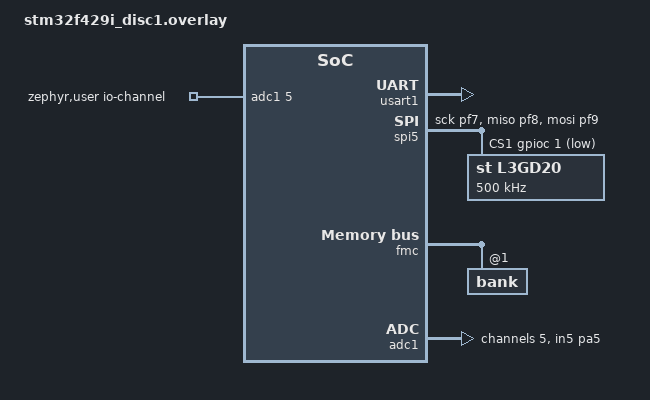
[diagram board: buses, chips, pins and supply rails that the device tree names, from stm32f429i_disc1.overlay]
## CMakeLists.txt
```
# SPDX-License-Identifier: Apache-2.0

# 设定CMake最低版本门槛
cmake_minimum_required(VERSION 3.20.0)

# 告诉 Zephyr 在哪里找自定义的设备树绑定文件
list(APPEND DTC_OVERLAY_FILE "${CMAKE_CURRENT_SOURCE_DIR}/stm32f429i_disc1.overlay")

# 设置自定义设备树绑定文件 (Bindings) 的搜索根目录。
# ${CMAKE_CURRENT_SOURCE_DIR} 指的是当前 CMakeLists.txt 所在的文件夹路径。
# 这行代码告诉 Zephyr 编译器：“除了去内核找硬件定义，也去我当前的项目目录下找找（通常是 dts/bindings 目录）”。
# 这样你写的 custom,sh1106.yaml 才能被系统识别。
set(DTS_ROOT ${CMAKE_CURRENT_SOURCE_DIR})

# 引入 Zephyr 编译框架的核心包。
# REQUIRED 表示这个包是必须的，找不到就直接报错停止。
# HINTS $ENV{ZEPHYR_BASE} 是给编译器一个“线索”，告诉它去环境变量 ZEPHYR_BASE 指向的路径找 Zephyr。
# 执行完这一行后，Zephyr 的所有编译规则、库文件、驱动框架都会被加载进你的项目中。
find_package(Zephyr REQUIRED HINTS $ENV{ZEPHYR_BASE})

# 定义当前项目的名称。
# 这里将项目命名为 "application"。这个名字会影响最终生成的二进制文件名（如 application.elf）。
# 它必须放在 find_package(Zephyr ...) 之后，因为 Zephyr 需要先初始化环境才能支持后续的项目定义。
project(application)

# 添加应用程序私有的头文件目录
# PRIVATE 表示这个 include 路径只对当前 app target 有效
target_include_directories(app PRIVATE
    include
    drivers/include
)

# 添加所有源文件到应用程序目标
target_sources(app PRIVATE
    src/led_thread.c
    src/display_thread.c
    src/gyro_thread.c
    src/dietemp_thread.c
    # src/self_test_thread.c
    drivers/l3gd20.c
    drivers/l3gd20_spi.c
)

# (可选) 链接所需的 Zephyr 库
# 正确的链接方式：只需要链接到 'zephyr' 目标
target_link_libraries(app PRIVATE
    zephyr
)
```

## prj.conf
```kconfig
# 开启启动横幅（Zephyr 版本信息）
CONFIG_BOOT_BANNER=y

#
# Kernel & System (内核与系统基础)
#
# 定义系统时钟滴答的频率
CONFIG_SYS_CLOCK_TICKS_PER_SEC=1000
# 启用 Newlib C 库
CONFIG_NEWLIB_LIBC=y
# 开启 Zephyr 的输入子系统
CONFIG_INPUT=y
# 开启硬件浮点单元支持
CONFIG_FPU=y
# 开启 FPU 寄存器共享 (非常重要！)
# 因为你在线程中使用浮点运算，如果不开启共享，
# 当系统从陀螺仪线程切换到其他线程时，浮点寄存器的值可能会乱套。
CONFIG_FPU_SHARING=y

# 启用Sensor子系统（如果需要连接陀螺仪等传感器）
CONFIG_SENSOR=y

#
# 控制台
#
# --- 基础控制台支持 ---
CONFIG_CONSOLE=y
# 启用控制台输入处理,既然用了 Shell，就不需要原始的控制台处理器了
CONFIG_CONSOLE_HANDLER=n
# 控制台最大输入行长度
CONFIG_CONSOLE_INPUT_MAX_LINE_LEN=128
# 启用标准输出重定向到控制台，允许 printf 等通过控制台(此时是 Shell)输出
# CONFIG_STDOUT_CONSOLE=y
# 指定 UART 作为控制台设备,不要让 Console 直接写 UART，而是交给 Shell 统一管
CONFIG_UART_CONSOLE=n

#
# Subsystems: Shell and Console (外壳与控制台)
#
# 启用 Shell 子系统
CONFIG_SHELL=y
# 启用 Shell 后端支持
CONFIG_SHELL_BACKENDS=y
# 使用串口作为 Shell 的 I/O 接口
CONFIG_SHELL_BACKEND_SERIAL=y
# 这一行是关键！它会让 Shell 注册为系统的一个 Console 驱动
CONFIG_SHELL_BACKEND_SERIAL_INTERRUPT_DRIVEN=y
# 解决争抢：让 Shell 接管日志后端输出
CONFIG_SHELL_LOG_BACKEND=y
# 启用 UART 运行时配置更改
CONFIG_UART_USE_RUNTIME_CONFIGURE=y
# 增加 Shell 线程栈大小以确保稳定运行
CONFIG_SHELL_STACK_SIZE=2048
# 开启内核对象查询（必须）
CONFIG_THREAD_MONITOR=y
# 开启线程名显示（方便识别是哪个任务）
CONFIG_THREAD_NAME=y
# 开启栈分析功能（查看具体使用了百分之几）
CONFIG_THREAD_STACK_INFO=y
CONFIG_THREAD_ANALYZER=y

#
# Logging System (日志系统)
#
# 启用核心日志功能
CONFIG_LOG=y
# 强制日志立即同步输出，不要缓存
CONFIG_LOG_MODE_IMMEDIATE=y
# 启用延迟模式（使用队列，提高实时性能）
# CONFIG_LOG_MODE_DEFERRED=y
# 使用 UART 作为日志输出后端;禁用原生的日志 UART 后端（避免重复）
CONFIG_LOG_BACKEND_UART=n
# 默认日志级别设置为 Info (3)
CONFIG_LOG_DEFAULT_LEVEL=3
# 编译时包含的最大日志级别设置为 Debug (4)
CONFIG_LOG_MAX_LEVEL=4
# 增加打印延迟，防止刷屏导致系统假死,只有在“延迟模式”下才有效
# CONFIG_LOG_BUFFER_SIZE=2048

#
# Core Drivers: Serial/UART (核心驱动：串行/UART)
#
# 启用串行子系统
CONFIG_SERIAL=y
# 启用中断驱动模式 (高效)
CONFIG_UART_INTERRUPT_DRIVEN=y

# 启用浮点支持，以便在日志中打印浮点数
CONFIG_CBPRINTF_FP_SUPPORT=y

# 启用 DMA 核心支持
# CONFIG_DMA=y

# 启用 PWM
# CONFIG_PWM=y
# CONFIG_PWM_STM32=y

#
# Core Drivers: GPIO (通用输入/输出)
#
# 启用 GPIO 核心支持
CONFIG_GPIO=y
# 启用 STM32 硬件 GPIO 驱动
CONFIG_GPIO_STM32=y

#
# Core Drivers: I2C
#
# 启用 I2C 核心支持
CONFIG_I2C=y
# 开启软件模拟 I2C 驱动
# CONFIG_I2C_GPIO=y
# 启用 STM32 硬件 I2C 驱动
CONFIG_I2C_STM32=y
# 启用中断驱动模式
CONFIG_I2C_STM32_INTERRUPT=y

#
# Core Drivers: QSPI/Flash (W25Q128)
#
# 启用 Flash API 核心支持
# CONFIG_FLASH=y
# 启用使用 STM32 HAL 库实现的 QSPI 驱动
# CONFIG_FLASH_STM32_QSPI=y

#
# Core Drivers: Standard SPI
#
# 启用标准 SPI 核心支持 (如果需要连接 SPI 传感器/屏幕)
CONFIG_SPI=y
CONFIG_SPI_STM32=y
# 暂时关闭 SPI DMA 传输，强制使用轮询/中断模式
# CONFIG_SPI_STM32_DMA=n
# 启用 SPI DMA 传输
# CONFIG_SPI_STM32_DMA=y
# 建议开启日志以便调试
# CONFIG_SPI_LOG_LEVEL_DBG=y

#
# Core Drivers: RTC (实时时钟)
#
# 启用 RTC 核心支持
CONFIG_RTC=y
# 启用 STM32 硬件 RTC 驱动
CONFIG_RTC_STM32=y
# 启用 RTC 闹钟功能
CONFIG_RTC_ALARM=y

#
# Core Drivers: LED (发光二极管)
#
# 启用 LED 核心驱动框架
CONFIG_LED=y
# 启用 GPIO LED 驱动 (用于开关控制)
CONFIG_LED_GPIO=y
# 启用 PWM LED 驱动 (用于亮度调节)
# CONFIG_LED_PWM=y

#
# Core Drivers: ADC (模数转换器)
#
# 启用 ADC 核心支持
CONFIG_ADC=y
# 启用 STM32 硬件 ADC 驱动
CONFIG_ADC_STM32=y

#
# Core Drivers: Pin Controller and HW Info (引脚控制器与硬件信息)
#
# 启用引脚控制器核心支持
CONFIG_PINCTRL=y
# 启用 STM32 引脚控制器驱动
CONFIG_PINCTRL_STM32=y
# 启用硬件信息核心支持
CONFIG_HWINFO=y
# 启用 STM32 硬件信息驱动 (读取芯片ID等)
CONFIG_HWINFO_STM32=y

#
# Display Driver (显示驱动 - LCD)
#
# 启用显示子系统
CONFIG_DISPLAY=y

# ================================================================
# LVGL配置
# ================================================================

# ================================================================
# LVGL 核心启用与内存池
# ================================================================
CONFIG_LVGL=y

# LVGL初始化会复用main stack，因此需要增加 main stack size
CONFIG_MAIN_STACK_SIZE=4096

# LVGL 自身组件分配的内存池大小（用于对象、样式等）
# 建议设置在 16KB - 64KB，取决于 UI 复杂度
CONFIG_LV_Z_MEM_POOL_SIZE=32768

# ================================================================
# LVGL 显存 (VDB) 关键配置 (实现双缓冲与地址重定向)
# ================================================================

# 渲染缓冲区大小：100 代表 100%，即全屏缓冲区
# 对于 F429 + SDRAM，建议设为 100 以获得最佳抗撕裂效果
CONFIG_LV_Z_VDB_SIZE=100

# 启用双显示缓冲区 (Double Buffering)
# 开启后 LVGL 会创建两个缓冲区，彻底解决你看到的“横向闪烁线”
CONFIG_LV_Z_DOUBLE_VDB=y

# 开启全屏刷新
CONFIG_LV_Z_FULL_REFRESH=y

# 显存位置重定向 (使用 Memory Region 模式)
# 开启内存域放置功能，允许我们指定显存放在特定的内存区域（如 SDRAM）
CONFIG_LV_Z_VDB_ZEPHYR_REGION=y
# 指定设备树中的 SDRAM2 区域
CONFIG_LV_Z_VDB_ZEPHYR_REGION_NAME="SDRAM2"

# 性能加速
# 启用 STM32 DMA2D 硬件加速
CONFIG_LV_USE_DRAW_DMA2D=y

# 2. 【核心修复】显式指定 HAL 库头文件为 F4 系列
# 注意：这行解决了报错 stm32h7xx_hal.h 找不到的问题
CONFIG_LV_DRAW_DMA2D_HAL_INCLUDE="stm32f4xx_hal.h"

# ================================================================
# 其他建议（可选）
# ================================================================
# 如果你需要使用中文字库或复杂的图形，可以增加 LVGL 的内存
CONFIG_LV_FONT_MONTSERRAT_14=y
CONFIG_LV_FONT_MONTSERRAT_18=y
CONFIG_LV_FONT_MONTSERRAT_24=y
CONFIG_LV_FONT_MONTSERRAT_32=y
# 开启用户log输出，方便调试LVGL内部状态
# CONFIG_LV_USE_LOG=y
# 开启LVGL Demo
# CONFIG_LV_BUILD_DEMOS=y
# 开启基础控件 Demo
# CONFIG_LV_USE_DEMO_WIDGETS=y
# 开启基准测试 Demo
# CONFIG_LV_USE_DEMO_BENCHMARK=y
# 智能手表 Demo
# CONFIG_LV_USE_DEMO_SMARTWATCH=y
```

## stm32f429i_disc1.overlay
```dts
/* stm32f429i_disc1.overlay */

/ {
	// chosen {
	// 	zephyr,console = &usart1;
	// 	zephyr,shell-uart = &usart1;
	// 	zephyr,sram = &sram0;
	// 	zephyr,flash = &flash0;
	// 	zephyr,ccm = &ccm0;
	// 	zephyr,display = &ltdc;
	// 	zephyr,touch = &stmpe811;
	// };

    /* 官方示例通过 zephyr,user 节点统一管理代码引用的通道 */
    zephyr,user {
        /* PA5 ，它对应 ADC1 的 通道 5 */
        io-channels = <&adc1 5>;
    };

	// aliases {
	// 	led0 = &green_led_3;
	// 	sw0 = &user_button;
	// }; 

	// leds {
	// 	compatible = "gpio-leds";
    //     // <&gpioe 7 GPIO_ACTIVE_HIGH> 这一行可能需要调整
    //     // 但是对于 led 节点，这是一个标志，表示该引脚是低电平有效的。
        
    //     // 根据您的电路，低电平点亮，所以它是 GPIO_ACTIVE_LOW
    //     // 这将影响驱动程序对 "开/关" 的解释。

    //     // 修正引脚极性 (这是最标准的做法)
	// 	blue_led: led_2 {
	// 		gpios = <&gpioe 9 GPIO_ACTIVE_LOW>;
	// 	};
	// };

	// gpio_keys {
	// 	compatible = "gpio-keys";

	// 	user_button: button {
	// 		label = "User";
	// 		gpios = <&gpioa 0 GPIO_ACTIVE_LOW>;
	// 		zephyr,code = <INPUT_KEY_0>;
	// 	};
	// };

	/* 定义 PWM LED 节点 */
	// pwmleds: pwmleds {
	// 	compatible = "pwm-leds";
	// 	status = "okay";

	// 	pwm_led: pwm_led {		
	// 		/*
	// 		* <&pwm4   : 使用 TIM3 定时器
	// 		* 4       : 使用第 2 通道 (对应 PC7)
	// 		* PWM_MSEC(20) : PWM 周期 20ms (50Hz)，适合 LED 调光
	// 		* 100000 : 10KHz 对应周期 100,000 ns, 适用于无极级调光背光
	// 		* PWM_POLARITY_NORMAL : 正常极性 (高电平有效/点亮)
	// 		*/
	// 		pwms = <&pwm3 2 100000 PWM_POLARITY_INVERTED>;
	// 	};
	// };

	/* 模拟 I2C 控制器必须放在根节点下 */
    /* 这里的名字可以叫 gpio-i2c_0，但 compatible 必须固定 */
    // gpio_i2c0: gpio_i2c0 {
    //     compatible = "gpio-i2c";
    //     status = "okay";  /* 激活该节点 */

    //     /* SDA 对应 PC1, SCL 对应 PC0 */
    //     /* 这里的 (GPIO_ACTIVE_HIGH | GPIO_OPEN_DRAIN) 是标准要求 */
    //     sda-gpios = <&gpioc 1 (GPIO_ACTIVE_HIGH | GPIO_OPEN_DRAIN)>;
    //     scl-gpios = <&gpioc 0 (GPIO_ACTIVE_HIGH | GPIO_OPEN_DRAIN)>;
        
    //     clock-frequency = <I2C_BITRATE_STANDARD>;
    //     #address-cells = <1>;
    //     #size-cells = <0>;

	// 	/* 加速度传感器作为子节点挂载 */
	// 	icm20608: icm20608@68 {
	// 		compatible = "invensense,icm20608";
	// 		reg = <0x68>;
	// 		status = "okay";
	// 		/* PD0 默认检测高电平,GPTO_EXTI0 */
	// 		int-gpios = <&gpiod 0 GPIO_ACTIVE_HIGH>;
    // 	};
    // };
};

/* 如果你也用到了 dma1，同样需要修正 */
// &dma1 {
//     compatible = "st,stm32-dma-v2";
//     #dma-cells = <3>;
//     status = "okay";
// };

/* 强制纠正 DMA 控制器的属性，解决 #dma-cells 不匹配问题 */
&dma2 {
    compatible = "st,stm32-dma-v2"; /* 必须指定为 v2 */
    #dma-cells = <3>;               /* 必须强制设为 3 */
    status = "okay";
};

/* 配置串口 */
&usart1 {
    /* 现在这里的 3 个数字就能和上面的 #dma-cells = <3> 匹配上了 */
    dmas = <&dma2 7 4 (STM32_DMA_PERIPH_TX | STM32_DMA_PRIORITY_HIGH)>,
           <&dma2 2 4 (STM32_DMA_PERIPH_RX | STM32_DMA_PRIORITY_HIGH)>;
    dma-names = "tx", "rx";
    status = "okay";
};

/* 修正 SPI5 的引脚分配，移除不需要的 PF6 */
&spi5 {
    pinctrl-0 = <&spi5_sck_pf7 &spi5_miso_pf8 &spi5_mosi_pf9>;
    pinctrl-names = "default";
    status = "okay";
    /* 这里定义两个片选，第一个给屏幕(Index 0)，第二个给MEMS(Index 1) */
    cs-gpios = <&gpioc 2 GPIO_ACTIVE_LOW>, <&gpioc 1 GPIO_ACTIVE_LOW>;

    l3gd20: l3gd20@1 {
        /* 如果 st,l3gd20 报错，这里换成 "st,i3g4250d" */
        compatible = "st,l3gd20"; 
        reg = <1>;
        spi-max-frequency = <500000>;
        status = "okay";
    };
};

// Zephyr 官方的 ILI9341 驱动绑定文件（Binding）中没有定义 te-gpios 这个属性
// &ili9341 {
// 	te-gpios = <&gpiod 11 GPIO_ACTIVE_HIGH>;
// };

&fmc {
	status = "okay";
    sdram {
        status = "okay";
        power-up-delay = <100>;
        num-auto-refresh = <8>;      /* 初始化标准流程：8次自动刷新 */
        mode-register = <0x0231>;    /* 设置 Burst=2, CAS=3 (对应下面的CAS_3) */
        refresh-rate = <1386>;       /* 基于 84MHz 计算出的 64ms/4096行刷新率 */

        bank@1 {
            reg = <1>;               /* 物理连接：SDRAM 片选挂在 Bank 2 (SDNE1) */

            st,sdram-control = <STM32_FMC_SDRAM_NC_8
                                STM32_FMC_SDRAM_NR_12
                                STM32_FMC_SDRAM_MWID_16
                                STM32_FMC_SDRAM_NB_4
                                STM32_FMC_SDRAM_CAS_3
                                STM32_FMC_SDRAM_SDCLK_PERIOD_2
                                STM32_FMC_SDRAM_RBURST_DISABLE
                                STM32_FMC_SDRAM_RPIPE_1>;

            /* 对应 CubeMX 参数转换 (单位为 SDCLK 周期) */
            /* [TMRD, TXSR, TRAS, TRC, TWR, TRP, TRCD] */
            /* TRAS 说明：CubeMX 的 8 HCLK 换算为 4 SDCLK，寄存器填 4-1=3 或更稳的 4 */
            st,sdram-timing = <2 7 4 7 2 2 2>;
        };
    };
};

// 不修改这个也能正常使用
// &ili9341 {
// 	disctrl = [0A A7 27 04];
// };

&stmpe811 {
    /* 使用这个关键字来删除官方文件里定义的属性 */
    /delete-property/ inverted-y;

    /* 优化触摸参数 */
    tracking-index = <16>;           /* 降低数值，让小幅移动更灵敏 */
};

// /* 1. 激活芯片内置的温度传感器支持 */
// &die_temp {
//     status = "okay";
// };

// /* 2. 激活内部参考电压（为了让电压转换更准） */
// &vref {
//     status = "okay";
// };

&adc1 {
    status = "okay";
    st,adc-prescaler = <4>;
    
    /* 定义通道 5 (PA5) */
    #address-cells = <1>;
    #size-cells = <0>;

    pinctrl-0 = <&adc1_in5_pa5>;
    pinctrl-names = "default";
    
    channel@5 {
        reg = <5>;
        zephyr,gain = "ADC_GAIN_1";
        zephyr,reference = "ADC_REF_INTERNAL"; // 使用 3.3V 作为基准
        zephyr,acquisition-time = <ADC_ACQ_TIME_DEFAULT>;
        zephyr,resolution = <12>;
    };
};
```

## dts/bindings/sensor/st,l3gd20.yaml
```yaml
# STMicroelectronics L3GD20 3-axis gyrometer
description: |
    STMicroelectronics L3GD20 3-axis gyrometer accessed through SPI bus

compatible: "st,l3gd20" 

include: [sensor-device.yaml, spi-device.yaml]
```

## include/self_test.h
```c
#ifndef SELF_TEST_H
#define SELF_TEST_H

/**
 * @brief 测试线程入口函数
 */
void self_test_thread_entry(void *p1, void *p2, void *p3);

#endif /* SELF_TEST_H */
```

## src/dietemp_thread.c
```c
/**
 * @file dietemp_thread.c
 */

#include <zephyr/kernel.h>
#include <zephyr/device.h>
#include <zephyr/devicetree.h>
#include <zephyr/drivers/adc.h>
#include <zephyr/logging/log.h>
#include <stm32_ll_adc.h> // 必须引入底层库

LOG_MODULE_REGISTER(DIE_TEMP_TASK, LOG_LEVEL_INF);

/* 检查设备树配置 */
#if !DT_NODE_EXISTS(DT_PATH(zephyr_user)) || \
    !DT_NODE_HAS_PROP(DT_PATH(zephyr_user), io_channels)
#error "请在 .overlay 中配置 zephyr,user 节点并添加 io-channels = <&adc1 18>;"
#endif

static const struct adc_dt_spec adc_chan0 = 
    ADC_DT_SPEC_GET_BY_IDX(DT_PATH(zephyr_user), 0);

/* 读取芯片内部温度失败，改尝试读取外部 ADC 通道 PA5 */
void dietemp_thread_entry(void *p1, void *p2, void *p3)
{
    int err;
    uint16_t buf;
    struct adc_sequence sequence = {
        .buffer = &buf,
        .buffer_size = sizeof(buf),
    };

    /* 1. 检查设备是否就绪 */
    if (!adc_is_ready_dt(&adc_chan0)) {
        LOG_ERR("ADC device not ready");
        return;
    }

    /* 2. 初始化通道 */
    err = adc_channel_setup_dt(&adc_chan0);
    if (err < 0) {
        LOG_ERR("Setup failed (err %d)", err);
        return;
    }

    LOG_INF("外部 ADC (PA5) 初始化成功！");

    while (1) {
        /* 3. 配置采样序列 */
        adc_sequence_init_dt(&adc_chan0, &sequence);

        /* 4. 读取原始值 */
        err = adc_read(adc_chan0.dev, &sequence);
        if (err == 0) {
            float voltage = (float)buf * 3.3f / 4095.0f;
            LOG_INF("PA5 Raw: %d, 电压: %.2f V", buf, (double)voltage);
        } else {
            LOG_WRN("读取失败 (err %d)", err);
        }

        k_msleep(1000);
    }
}

// 线程栈和定义
#define DIE_TEMP_STACK_SIZE 1024
#define DIE_TEMP_PRIORITY 13

/* 定义并启动线程，优先级设为 7 */
K_THREAD_DEFINE(dietemp_tid, DIE_TEMP_STACK_SIZE, 
                dietemp_thread_entry, NULL, NULL, NULL, 
                DIE_TEMP_PRIORITY, 0, 0);
```

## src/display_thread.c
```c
#include <zephyr/kernel.h>
#include <zephyr/device.h>
#include <zephyr/drivers/display.h>
#include <zephyr/input/input.h>
#include <lvgl.h>
#include <stdio.h>
#include <stdint.h>
#include <string.h>

#include "display_thread.h"

#include <zephyr/logging/log.h>
LOG_MODULE_REGISTER(Display_TASK, LOG_LEVEL_INF);

/* --- 硬件常量定义 --- */
#define SCREEN_WIDTH  240
#define SCREEN_HEIGHT 320
// STM32F429I-DISC1 默认显存起始地址 (需确保与设备树配置一致)
#define SDRAM_FB_ADDR 0xD0000000 

static const struct device *display_dev = DEVICE_DT_GET(DT_CHOSEN(zephyr_display));

static lv_chart_series_t * ser1 = NULL;
static lv_obj_t * main_chart = NULL;
static lv_obj_t * main_bar = NULL;

/**
 * @brief 按钮事件：处理清空逻辑
 */
static void btn_reset_cb(lv_event_t * e) {
    lv_event_code_t code = lv_event_get_code(e);
    if(code == LV_EVENT_PRESSED) {
        LOG_INF("UI: Reset Triggered");
        if (main_chart && ser1) {
            lv_chart_set_all_value(main_chart, ser1, 0);
            lv_chart_refresh(main_chart);
        }
    }
}

/**
 * @brief 数据更新定时器
 */
static void ui_timer_cb(lv_timer_t * timer) {
    static int val = 0;
    val = (val + 1) % 101;
    lv_bar_set_value(main_bar, val, LV_ANIM_ON);

    uint32_t rnd = (k_cycle_get_32() % 60) + 20;
    lv_chart_set_next_value(main_chart, ser1, rnd);
}

/**
 * @brief 构建最终演示界面
 */
void create_demo_ui(void) {
    lv_obj_t * screen = lv_scr_act();
    lv_obj_clear_flag(screen, LV_OBJ_FLAG_SCROLLABLE);
    lv_obj_set_style_bg_color(screen, lv_palette_darken(LV_PALETTE_GREY, 4), 0);

    /* 标题 */
    lv_obj_t * title = lv_label_create(screen);
    lv_label_set_text(title, "SYSTEM MONITOR v1.0");
    lv_obj_set_style_text_color(title, lv_palette_main(LV_PALETTE_LIME), 0);
    lv_obj_align(title, LV_ALIGN_TOP_MID, 0, 10);

    /* 进度条 */
    main_bar = lv_bar_create(screen);
    lv_obj_set_size(main_bar, 200, 12);
    lv_obj_align(main_bar, LV_ALIGN_TOP_MID, 0, 40);

    /* 折线图 */
    main_chart = lv_chart_create(screen);
    lv_obj_set_size(main_chart, 220, 140);
    lv_obj_align(main_chart, LV_ALIGN_CENTER, 0, 20);
    lv_chart_set_type(main_chart, LV_CHART_TYPE_LINE);
    lv_obj_set_style_bg_color(main_chart, lv_color_black(), 0);
    ser1 = lv_chart_add_series(main_chart, lv_palette_main(LV_PALETTE_YELLOW), LV_CHART_AXIS_PRIMARY_Y);

    /* RESET 按钮 */
    lv_obj_t * btn = lv_btn_create(screen);
    lv_obj_set_size(btn, 120, 45);
    lv_obj_align(btn, LV_ALIGN_BOTTOM_MID, 0, -10);
    lv_obj_clear_flag(btn, LV_OBJ_FLAG_SCROLLABLE);
    
    // 设置按下反馈
    lv_obj_set_style_bg_color(btn, lv_palette_main(LV_PALETTE_RED), LV_STATE_PRESSED);

    lv_obj_t * btn_label = lv_label_create(btn);
    lv_label_set_text(btn_label, "RESET DATA");
    lv_obj_center(btn_label);

    lv_obj_add_event_cb(btn, btn_reset_cb, LV_EVENT_ALL, NULL);

    lv_timer_create(ui_timer_cb, 100, NULL);
}

/**
 * @brief 显示线程入口
 */
void display_thread_entry(void) 
{
    // 稍微多等一会儿，确保外设上电稳定
    k_msleep(800); 

    LOG_INF("Display Thread Init...");

    if (!device_is_ready(display_dev)) {
        LOG_ERR("Display device not found!");
        return;
    }

    /* --- 步骤 A: 物理显存清零 --- */
    // 用深灰色彻底覆盖 SDRAM 中的随机数据
    uint16_t *fb = (uint16_t *)SDRAM_FB_ADDR;
    for(int i = 0; i < (SCREEN_WIDTH * SCREEN_HEIGHT); i++) {
        fb[i] = 0x2104; // 深灰色 RGB565
    }
    LOG_INF("SDRAM Framebuffer cleaned.");

    // 关闭消隐，开启背光显示
    display_blanking_off(display_dev);

    /* --- 步骤 B: 创建 UI --- */
    create_demo_ui();

    /* --- 步骤 C: 任务主循环 --- */
    while (1) {
        // lv_task_handler 会在此处处理 DMA2D 搬运及输入队列读取
        uint32_t next_run = lv_task_handler();
        
        // 动态睡眠：保持 5ms-30ms 之间，给 Input 系统留出处理带宽
        if (next_run < 5) next_run = 5;
        if (next_run > 30) next_run = 30;
        
        k_msleep(next_run);
    }
}

/* 线程定义 (降低优先级以确保 Input 子系统响应) */
#define DISPLAY_STACK_SIZE 8192
#define DISPLAY_PRIORITY 12 // 优先级调低一点

K_THREAD_DEFINE(display_thread_tid, DISPLAY_STACK_SIZE, 
                display_thread_entry, NULL, NULL, NULL,
                DISPLAY_PRIORITY, 0, 0);
```

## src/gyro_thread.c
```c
#include <zephyr/kernel.h>
#include <zephyr/device.h>
#include <zephyr/drivers/sensor.h>
#include <zephyr/logging/log.h>
#include <math.h>

LOG_MODULE_REGISTER(GYRO_TASK, LOG_LEVEL_INF);

/* --- 配置常量 --- */
#define RAD_TO_DPS 57.2957795f
#define FILTER_ALPHA 0.5f  // 滤波系数 (0.0~1.0)，越小越平滑，但响应变慢

/* 静态变量，用于存储平滑后的值 */
static float smooth_gx, smooth_gy, smooth_gz;

/**
 * @brief 自定义转换函数：解决 Zephyr 负数转换时的符号丢失问题
 */
static float sensor_to_float(struct sensor_value *v)
{
    /* 显式处理：整数部分 + (微量部分 / 100万) */
    /* 注意：如果 v->val1 是 0 且数值为负，符号会由驱动层处理或在此手动判定 */
    return (float)v->val1 + (float)v->val2 / 1000000.0f;
}

void gyro_thread_entry(void *p1, void *p2, void *p3)
{
    const struct device *const dev = DEVICE_DT_GET(DT_NODELABEL(l3gd20));
    struct sensor_value gyro[3];
    
    float offset_x = 0.0f, offset_y = 0.0f, offset_z = 0.0f;
    int calib_samples = 100;

    if (!device_is_ready(dev)) {
        LOG_ERR("L3GD20 未就绪");
        return;
    }

    /* --- 1. 自动校准阶段 --- */
    LOG_INF("正在校准，请保持设备静止...");
    for (int i = 0; i < calib_samples; i++) {
        if (sensor_sample_fetch(dev) == 0) {
            sensor_channel_get(dev, SENSOR_CHAN_GYRO_XYZ, gyro);
            offset_x += sensor_to_float(&gyro[0]);
            offset_y += sensor_to_float(&gyro[1]);
            offset_z += sensor_to_float(&gyro[2]);
        }
        k_msleep(10);
    }
    offset_x /= calib_samples;
    offset_y /= calib_samples;
    offset_z /= calib_samples;
    LOG_INF("校准完成！偏移量 -> X:%.3f, Y:%.3f, Z:%.3f", (double)offset_x, (double)offset_y, (double)offset_z);

    /* --- 2. 主循环 --- */
    while (1) {
        if (sensor_sample_fetch(dev) == 0) {
            sensor_channel_get(dev, SENSOR_CHAN_GYRO_XYZ, gyro);

            /* A. 获取去偏后的原始值 (单位: rad/s) */
            float cur_gx = sensor_to_float(&gyro[0]) - offset_x;
            float cur_gy = sensor_to_float(&gyro[1]) - offset_y;
            float cur_gz = sensor_to_float(&gyro[2]) - offset_z;

            /* B. 一阶低通滤波 (消除抖动) */
            smooth_gx = (cur_gx * FILTER_ALPHA) + (smooth_gx * (1.0f - FILTER_ALPHA));
            smooth_gy = (cur_gy * FILTER_ALPHA) + (smooth_gy * (1.0f - FILTER_ALPHA));
            smooth_gz = (cur_gz * FILTER_ALPHA) + (smooth_gz * (1.0f - FILTER_ALPHA));

            /* C. 转换并打印 (单位: dps) */
            LOG_DBG("Gyro [dps] -> X: %6.2f | Y: %6.2f | Z: %6.2f", 
                    (double)(smooth_gx * RAD_TO_DPS), 
                    (double)(smooth_gy * RAD_TO_DPS), 
                    (double)(smooth_gz * RAD_TO_DPS));
        }
        k_msleep(100); // 10Hz 刷新率
    }
}

// 线程栈和定义
#define GYRO_STACK_SIZE 2048
#define GYRO_PRIORITY 7

/* 使用宏定义并自动启动线程 */
/* 参数：线程名, 堆栈大小, 入口函数, 参数1, 参数2, 参数3, 优先级, 选项, 延迟启动时间 */
K_THREAD_DEFINE(gyro_tid, GYRO_STACK_SIZE,
                gyro_thread_entry, NULL, NULL, NULL,
                GYRO_PRIORITY, 0, 0);
```

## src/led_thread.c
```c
#include <zephyr/kernel.h>
#include <zephyr/drivers/gpio.h>
#include <zephyr/logging/log.h>
#include "led_thread.h"

// 启用日志记录
LOG_MODULE_REGISTER(LED_TASK, LOG_LEVEL_INF);

/* GPIO_DT_SPEC_GET(node_id, property)： 这是Zephyr提供的另一个宏，
* 用于从指定的设备节点ID (LED1_NODE) 中提取名为 property 的属性值，
* 并将其封装成 struct gpio_dt_spec。
* 这里的 gpios 是一个标准的设备树属性名。
*/
static const struct gpio_dt_spec led = GPIO_DT_SPEC_GET(DT_ALIAS(led0), gpios);

void led_thread_entry(void *p1, void *p2, void *p3)
{
    // ... 在这里初始化您的 LED 设备 ...
    LOG_INF("LED Thread started");

    int ret;

	/* 初始化 GPIO (LED) */
    if (!gpio_is_ready_dt(&led)) {
        LOG_ERR("GPIO device not ready");
        return;
    }

	ret = gpio_pin_configure_dt(&led, GPIO_OUTPUT_ACTIVE);
	if (ret < 0) {
		LOG_ERR("Error: Failed to configure LED pin (ret=%d)", ret);
        while(1) { return; } 
	}

    /* 主动翻转一次LED，间隔1s */
	k_msleep(1000); // 等待 1 秒
	gpio_pin_toggle_dt(&led);
	LOG_DBG("GPIO LED Toggled Test");


    while (1) {
		/* --- 每 1 秒切换一次 GPIO LED 状态 --- */
        gpio_pin_toggle_dt(&led);
        LOG_DBG("Green LED Toggled");

        /* 休眠 1000ms */
        k_msleep(1000);
    }
}

// 线程栈和定义
#define LED_STACK_SIZE 1024
#define LED_PRIORITY 15

K_THREAD_DEFINE(led_tid, LED_STACK_SIZE, 
                led_thread_entry, NULL, NULL, NULL,
                LED_PRIORITY, 0, 0);
```

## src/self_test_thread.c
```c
#include <zephyr/kernel.h>
#include <zephyr/logging/log.h>
#include <stdint.h>
#include "self_test.h"

/* 启用日志记录，模块名为 SELF_TEST */
LOG_MODULE_REGISTER(SELF_TEST, LOG_LEVEL_INF);

/* * 硬件定义：
 * 根据设备树和原理图，STM32F429I-DISCO 的 SDRAM 挂载在 Bank 2
 * 物理起始地址为 0xD0000000，大小为 8MB
 */
#define SDRAM_ADDR       0xD0000000
#define SDRAM_SIZE_BYTES (8 * 1024 * 1024)
#define SDRAM_SIZE_WORDS (SDRAM_SIZE_BYTES / sizeof(uint32_t))

void self_test_thread_entry(void *p1, void *p2, void *p3)
{
    /* 等待 500ms，确保内核和 FMC 外设初始化完全完成 */
    k_msleep(500);
    
    LOG_INF("SDRAM 自检线程已启动...");

    uint32_t *mem_ptr = (uint32_t *)SDRAM_ADDR;
    uint32_t error_count = 0;

    /* --- 第一阶段：地址线校验 (写入索引特征值) --- */
    /* 逻辑：在地址 N 写入数值 N。如果地址线虚焊或短路，会导致数据覆盖错乱。 */
    LOG_INF("阶段 1: 正在向 8MB 内存写入索引数据...");
    for (uint32_t i = 0; i < SDRAM_SIZE_WORDS; i++) {
        mem_ptr[i] = i; 
    }

    LOG_INF("阶段 1: 正在校验索引数据...");
    for (uint32_t i = 0; i < SDRAM_SIZE_WORDS; i++) {
        if (mem_ptr[i] != i) {
            /* 限制错误打印数量，防止日志缓冲区溢出 */
            if (error_count < 5) {
                LOG_ERR("地址错误 @ 0x%p! 期望值: 0x%08X, 实际值: 0x%08X", 
                        &mem_ptr[i], i, mem_ptr[i]);
            }
            error_count++;
        }
    }

    /* --- 第二阶段：数据线翻转测试 (0xAAAAAAAA 和 0x55555555) --- */
    /* 逻辑：通过 101010... 和 010101... 的交替，检查 16 位数据总线的每一根线是否都能正常拉高和拉低。 */
    LOG_INF("阶段 2: 正在进行位翻转测试 (0xAAAAAAAA / 0x55555555)...");
    for (uint32_t i = 0; i < SDRAM_SIZE_WORDS; i++) {
        // 测试全 1/0 交替
        mem_ptr[i] = 0xAAAAAAAA;
        if (mem_ptr[i] != 0xAAAAAAAA) error_count++;
        
        mem_ptr[i] = 0x55555555;
        if (mem_ptr[i] != 0x55555555) error_count++;
    }

    /* --- 最终结果统计 --- */
    if (error_count == 0) {
        LOG_INF(">>> [成功] SDRAM 8MB 全覆盖校验通过！硬件连接和时序配置正确。");
    } else {
        LOG_ERR(">>> [失败] SDRAM 发现 %u 处错误！请检查 FMC 引脚配置或时序参数。", error_count);
    }

    /* 测试完成后，该线程进入永久休眠，不占用 CPU 资源 */
    while (1) {
        k_sleep(K_FOREVER);
    }
}

/* --- 线程定义 (使用 Zephyr 静态定义宏) --- */
/* * 栈大小：1024 字节
 * 优先级：10 (比 LED 线程的 15 优先级更高，确保先运行测试)
 */
#define SELF_TEST_STACK_SIZE 1024
#define SELF_TEST_PRIORITY 10

K_THREAD_DEFINE(self_test_tid, SELF_TEST_STACK_SIZE,
                self_test_thread_entry, NULL, NULL, NULL,
                SELF_TEST_PRIORITY, 0, 0);
```
